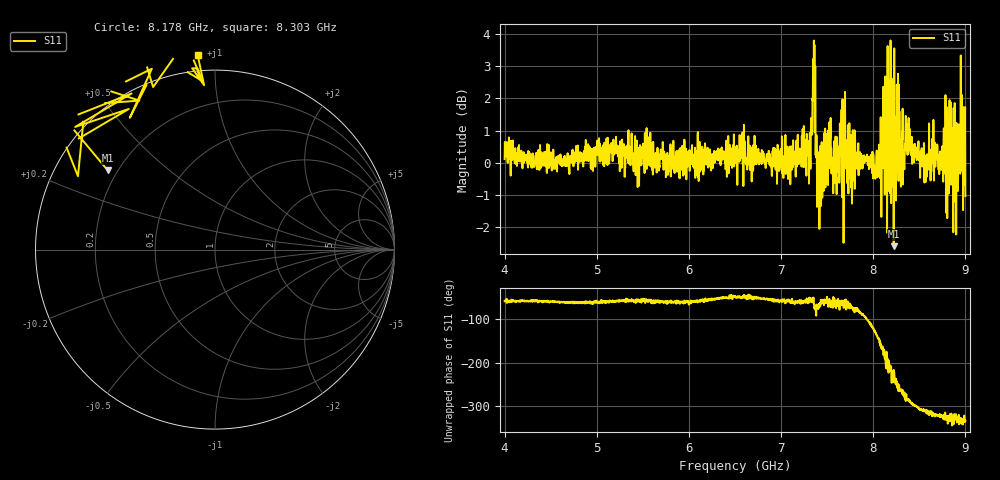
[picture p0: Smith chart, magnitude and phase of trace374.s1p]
! Created with skrf 1.8.0 (http://scikit-rf.org).
# Hz S RI R 50.0
!freq ReS11 ImS11
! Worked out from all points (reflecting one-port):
!   1601 points, 4 GHz to 9 GHz, reference 50 ohm
!   lowest |S11| = -2.6 dB at 8.222 GHz (marker M1), VSWR 6.76, Z = 8.18 + j16.1 ohm
!   phase of S11 starts at -58 deg and turns -275 deg over the sweep
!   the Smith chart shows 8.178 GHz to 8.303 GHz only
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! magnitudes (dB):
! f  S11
! 4 GHz  0.1
! 4.625 GHz  -0.1
! 5.25 GHz  -0.3
! 5.875 GHz  -0.3
! 6.5 GHz  0.2
! 7.125 GHz  -0.1
! 7.294 GHz  0.5
! 7.319 GHz  -0.2
! 7.347 GHz  3.2
! 7.366 GHz  1.0
! 7.4 GHz  -0.1
! 7.412 GHz  -0.8
! 7.525 GHz  1.3
! 7.578 GHz  0.2
! 7.65 GHz  1.1
! 7.75 GHz  -0.4
! 8.066 GHz  -0.4
! 8.162 GHz  0.3
! 8.222 GHz  -2.6
! 8.253 GHz  0.5
! 8.312 GHz  1.0
! 8.375 GHz  0.6
! 8.578 GHz  0.0
! 8.734 GHz  0.2
! 8.834 GHz  1.4
! 8.919 GHz  -0.9
! 8.972 GHz  0.3
! 9 GHz  -1.0
